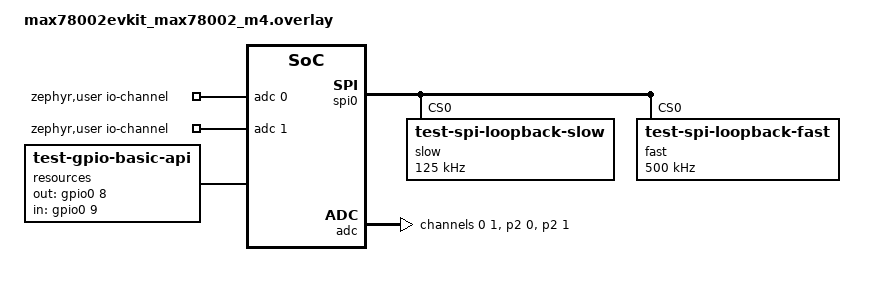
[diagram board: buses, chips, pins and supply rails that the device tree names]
/*
 * Copyright (c) 2024 Analog Devices, Inc.
 *
 * SPDX-License-Identifier: Apache-2.0
 */

tst_dma0: &dma0 {};

&spi0 {
	dmas = <&dma0 1 MAX78_DMA_SLOT_SPI0_TX>, <&dma0 2 MAX78_DMA_SLOT_SPI0_RX>;
	dma-names = "tx", "rx";
	slow@0 {
		compatible = "test-spi-loopback-slow";
		reg = <0>;
		spi-max-frequency = <125000>;
	};
	fast@0 {
		compatible = "test-spi-loopback-fast";
		reg = <0>;
		spi-max-frequency = <500000>;
	};
};

/ {
	zephyr,user {
		io-channels = <&adc 0>, <&adc 1>;
	};
};

&adc {
	status = "okay";
	pinctrl-0 = <&ain0_p2_0 &ain1_p2_1>;
	pinctrl-names = "default";
	#address-cells = <1>;
	#size-cells = <0>;
	channel@0 {
		reg = <0>;
		zephyr,gain = "ADC_GAIN_1";
		zephyr,reference = "ADC_REF_INTERNAL";
		zephyr,acquisition-time = <ADC_ACQ_TIME_DEFAULT>;
		zephyr,resolution = <12>;
	};
	channel@1 {
		reg = <1>;
		zephyr,gain = "ADC_GAIN_1";
		zephyr,reference = "ADC_REF_INTERNAL";
		zephyr,acquisition-time = <ADC_ACQ_TIME_DEFAULT>;
		zephyr,resolution = <12>;
	};
};

/ {
	resources {
		compatible = "test-gpio-basic-api";
		out-gpios = <&gpio0 8 0>;
		in-gpios = <&gpio0 9 0>;
	};
};
